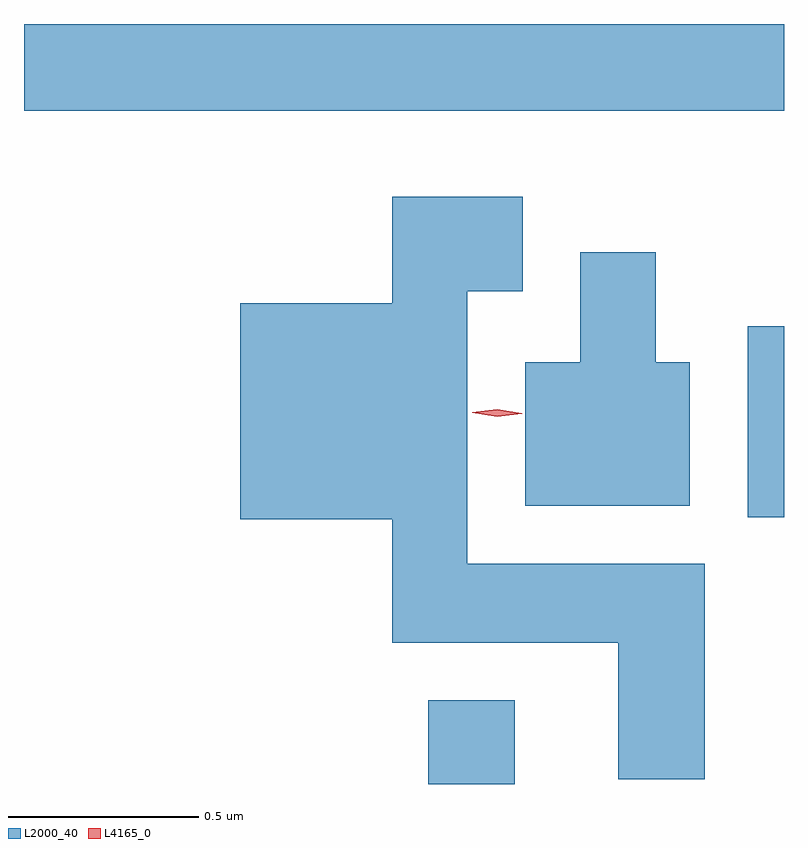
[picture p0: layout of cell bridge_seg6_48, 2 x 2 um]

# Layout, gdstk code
import gdstk
lib = gdstk.Library(unit=1e-6, precision=1e-09)
def R(c, l, rs):  # rectangles x0, y0, x1, y1
    for r in rs: c.add(gdstk.rectangle(r[:2], r[2:], *l))
def P(c, l, *ps):  # polygons
    for p in ps: c.add(gdstk.Polygon(p, *l))
L2000_40 = (2000, 40)
L4165_0 = (4165, 0)

bridge_seg6_48 = lib.new_cell('bridge_seg6_48')
R(bridge_seg6_48, L2000_40, [(1587.721,1617.084,1587.949,1617.304), (1588.561,1617.786,1588.657,1618.289), (1586.657,1618.856,1588.657,1619.084)])
P(bridge_seg6_48, L2000_40, [(1588.449,1617.664),(1587.824,1617.664),(1587.824,1618.381),(1587.969,1618.381),(1587.969,1618.629),(1587.626,1618.629),(1587.626,1618.349),(1587.226,1618.349),(1587.226,1617.781),(1587.626,1617.781),(1587.626,1617.456),(1588.221,1617.456),(1588.221,1617.096),(1588.449,1617.096)],
  [(1588.409,1618.194),(1588.319,1618.194),(1588.319,1618.484),(1588.121,1618.484),(1588.121,1618.194),(1587.976,1618.194),(1587.976,1617.816),(1588.409,1617.816)])
P(bridge_seg6_48, L4165_0, [(1587.902,1618.05),(1587.836,1618.061),(1587.836,1618.061),(1587.836,1618.062),(1587.902,1618.07),(1587.967,1618.06),(1587.968,1618.059),(1587.967,1618.058)])

lib.write_gds('bridge_seg6_48.gds')
